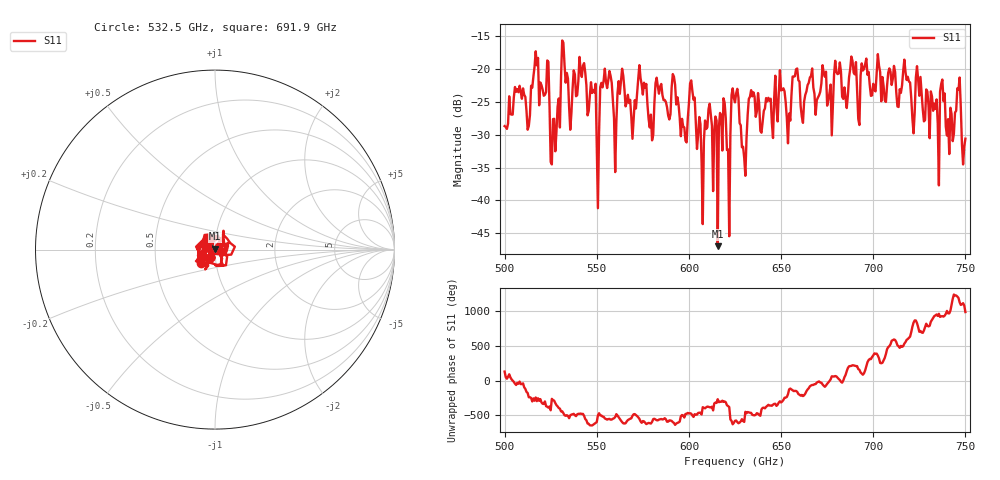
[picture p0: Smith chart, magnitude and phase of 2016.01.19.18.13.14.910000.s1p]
!Created with skrf (http://scikit-rf.org).
# GHz S RI R 50.0
!freq ReS11 ImS11
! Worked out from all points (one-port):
!   401 points, 500 GHz to 750 GHz, reference 50 ohm
!   lowest |S11| = -47.0 dB at 615.6 GHz (marker M1), VSWR 1.01, Z = 50 + j0.448 ohm
!   |S11| at or under -10 dB: start of sweep to end of sweep
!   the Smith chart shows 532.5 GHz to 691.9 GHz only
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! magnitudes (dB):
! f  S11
! 500 GHz  -28.7
! 513.1 GHz  -28.7
! 516.9 GHz  -17.3
! 523.1 GHz  -18.7
! 526.2 GHz  -27.6
! 531.2 GHz  -15.7
! 535.6 GHz  -29.3
! 541.9 GHz  -21.2
! 550 GHz  -31.8
! 553.1 GHz  -22.8
! 560 GHz  -35.7
! 562.5 GHz  -23.8
! 574.4 GHz  -22.4
! 579.4 GHz  -27.0
! 583.1 GHz  -22.7
! 593.8 GHz  -24.3
! 615.6 GHz  -47.0
! 618.8 GHz  -24.5
! 621.2 GHz  -32.2
! 625 GHz  -25.1
! 630 GHz  -33.6
! 633.8 GHz  -23.2
! 656.2 GHz  -21.2
! 687.5 GHz  -20.1
! 718.8 GHz  -21.2
! 742.5 GHz  -26.9
! 746.2 GHz  -23.2
! 750 GHz  -30.6
